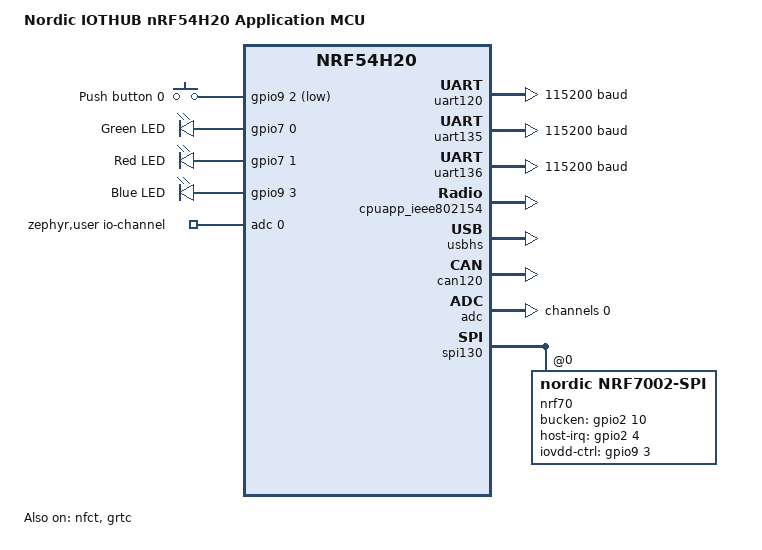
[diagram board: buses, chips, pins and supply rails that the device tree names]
/*
 * Copyright (c) 2024 Nordic Semiconductor ASA
 *
 * SPDX-License-Identifier: Apache-2.0
 */

/dts-v1/;

#include <nordic/nrf54h20_cpuapp.dtsi>
#include "iothub_nrf54h20-common.dtsi"
#include "nrf7002/nrf54h20_cpuapp.overlay"

/delete-node/ &cpurad_cpusys_ipc;
/delete-node/ &cpusec_cpurad_ipc;

/ {
	compatible = "nordic,iothub_nrf54h20-cpuapp";
	model = "Nordic IOTHUB nRF54H20 Application MCU";

	chosen {
		zephyr,console = &uart136;
		zephyr,code-partition = &slot0_partition;
		zephyr,flash = &mram1x;
		zephyr,sram = &cpuapp_data;
		zephyr,shell-uart = &uart136;
		zephyr,uart-mcumgr = &uart136;
		zephyr,ieee802154 = &cpuapp_ieee802154;
		zephyr,bt-hci = &bt_hci_ipc0;
		nordic,802154-spinel-ipc = &ipc0;
		zephyr,canbus = &can120;
		zephyr,entropy = &prng;
		zephyr,pm-ext-flash = &mx25uw63;
	};

	aliases {
		green-led = &led0;
		red-led = &led1;
		blue-led = &led2;
		resetinfo = &cpuapp_resetinfo;
		sw0 = &button0;
		ipc-to-cpusys = &cpuapp_cpusys_ipc;
		watchdog0 = &wdt010;
	};

	buttons {
		compatible = "gpio-keys";

		button0: button_0 {
			gpios = <&gpio9 2 (GPIO_PULL_UP | GPIO_ACTIVE_LOW)>;
			label = "Push button 0";
			zephyr,code = <INPUT_KEY_0>;
		};
	};

	leds {
		compatible = "gpio-leds";

		led0: led_0 {
			gpios = <&gpio7 0 GPIO_ACTIVE_HIGH>;
			label = "Green LED";
		};

		led1: led_1 {
			gpios = <&gpio7 1 GPIO_ACTIVE_HIGH>;
			label = "Red LED";
		};

		led2: led_2 {
			gpios = <&gpio9 3 GPIO_ACTIVE_HIGH>;
			label = "Blue LED";
		};
	};

	prng: prng {
		compatible = "nordic,entropy-prng";
		status = "okay";
	};

	zephyr,user {
		io-channels = <&adc 0>;
	};
};

&cpuapp_bellboard {
	status = "okay";
	interrupts = <96 NRF_DEFAULT_IRQ_PRIORITY>;
	interrupt-names = "irq0";
	/* irq0:
	 *  - 0:  cpuapp-cpusec
	 *  - 6:  cpuapp-cpusys
	 *  - 13: cpuapp-cpuppr
	 *  - 14: cpuapp-cpuflpr
	 *  - 18: cpuapp-cpurad
	 */
	nordic,interrupt-mapping = <0x00046041 0>;
};

&cpurad_bellboard {
	status = "okay";
};

&cpusys_vevif {
	status = "okay";
};

&cpusec_cpuapp_ipc {
	status = "okay";
	mbox-names = "tx", "rx";
};

&cpusec_bellboard {
	status = "okay";
};

ipc0: &cpuapp_cpurad_ipc {
	status = "okay";
	mbox-names = "rx", "tx";
	tx-region = <&cpuapp_cpurad_ipc_shm>;
	rx-region = <&cpurad_cpuapp_ipc_shm>;
	tx-blocks = <32>;
	rx-blocks = <32>;

	bt_hci_ipc0: bt_hci_ipc0 {
		compatible = "zephyr,bt-hci-ipc";
		status = "okay";
	};
};

&cpuapp_cpusys_ipc {
	status = "okay";
	mbox-names = "rx", "tx";
	tx-region = <&cpuapp_cpusys_ipc_shm>;
	rx-region = <&cpusys_cpuapp_ipc_shm>;
};

&cpuapp_cpuppr_ipc {
	mbox-names = "rx", "tx";
	tx-region = <&cpuapp_cpuppr_ipc_shm>;
	rx-region = <&cpuppr_cpuapp_ipc_shm>;
};

&cpuapp_cpuflpr_ipc {
	mbox-names = "rx", "tx";
	tx-region = <&cpuapp_cpuflpr_ipc_shm>;
	rx-region = <&cpuflpr_cpuapp_ipc_shm>;
};

&cpuapp_dma_region {
	status = "okay";
};

ironside_se_boot_report: &cpuapp_ironside_se_boot_report {};

boot_partition: &cpuapp_boot_partition {
	label = "mcuboot";
};

slot0_partition: &cpuapp_slot0_partition {
	label = "image-0";
};

slot1_partition: &cpuapp_slot1_partition {
	label = "image-1";
};

slot2_partition: &cpurad_slot0_partition {
	label = "image-2";
};

slot3_partition: &cpurad_slot1_partition {
	label = "image-3";
};

&cpuppr_vpr {
	execution-memory = <&cpuppr_code_data>;
	source-memory = <&cpuppr_code_partition>;
};

&cpuflpr_vpr {
	execution-memory = <&cpuflpr_code_data>;
	source-memory = <&cpuflpr_code_partition>;
};

&nfct {
	status = "okay";
	memory-regions = <&cpuapp_dma_region>;
};

&gpiote130 {
	status = "okay";
	owned-channels = <0 1 2 3 4 5 6 7>;
};
//GPS, Debug UART
&gpio0 {
	status = "okay";
};
//volatage monitoring, photo sensor, BG95, RS485
&gpio1 {
	status = "okay";
};
//BT Coex, wifi-SPI, CAN, ACCEL_INT
&gpio2 {
	status = "okay";
};
//
//green-led, red-led, BG95 
&gpio7 {
	status = "okay";
};
//I2C, blue-led, and Button
&gpio9 {
	status = "okay";
};

&grtc {
	status = "okay";
	child-owned-channels = <5 6>;
	nonsecure-channels = <5 6>;
	owned-channels = <4 5 6>;
};

&uart120 {
	current-speed = <115200>;
	pinctrl-0 = <&uart120_default>;
	pinctrl-1 = <&uart120_sleep>;
	pinctrl-names = "default", "sleep";
};

&uart135 {
	current-speed = <115200>;
	pinctrl-0 = <&uart135_default>;
	pinctrl-1 = <&uart135_sleep>;
	pinctrl-names = "default", "sleep";
};

&uart136 {
	status = "okay";
	memory-regions = <&cpuapp_dma_region>;
	current-speed = <115200>;
	pinctrl-0 = <&uart136_default>;
	pinctrl-1 = <&uart136_sleep>;
	pinctrl-names = "default", "sleep";
};

&gpio6 {
	status = "disabled";
};

&exmif {
	pinctrl-0 = <&exmif_default>;
	pinctrl-1 = <&exmif_sleep>;
	pinctrl-names = "default", "sleep";
	status = "disabled";

	mx25uw63: mx25uw6345g@0 {
		compatible = "mxicy,mx25u", "jedec,mspi-nor";
		status = "disabled";
		reg = <0>;
		jedec-id = [c2 84 37];
		sfdp-bfp = [
			e5 20 8a ff  ff ff ff 03  00 ff 00 ff  00 ff 00 ff
			ee ff ff ff  ff ff 00 ff  ff ff 00 ff  0c 20 10 d8
			00 ff 00 ff  87 79 01 00  84 12 00 c4  cc 04 67 46
			30 b0 30 b0  f4 bd d5 5c  00 00 00 ff  10 10 00 20
			00 00 00 00  00 00 7c 23  48 00 00 00  00 00 88 88
		];
		sfdp-ff05 = [
			00 ee c0 69  72 72 71 71  00 d8 f7 f6  00 0a 00 00
			14 45 98 80
		];
		sfdp-ff84 = [
			43 06 0f 00  21 dc ff ff
		];
		size = <67108864>;
		has-dpd;
		t-enter-dpd = <10000>;
		t-exit-dpd = <30000>;
		reset-gpios = <&gpio6 12 GPIO_ACTIVE_LOW>;
		t-reset-pulse = <10000>;
		t-reset-recovery = <35000>;

		mspi-max-frequency = <DT_FREQ_M(50)>;
		mspi-io-mode = "MSPI_IO_MODE_OCTAL";
		mspi-data-rate = "MSPI_DATA_RATE_SINGLE";
		mspi-hardware-ce-num = <1>;
		mspi-cpp-mode = "MSPI_CPP_MODE_0";
		mspi-endian = "MSPI_BIG_ENDIAN";
		mspi-ce-polarity = "MSPI_CE_ACTIVE_LOW";
	};
};

&cpuapp_ieee802154 {
	status = "okay";
};

zephyr_udc0: &usbhs {
	status = "okay";
};

&canpll {
	status = "okay";
};

&can120 {
	status = "okay";
	pinctrl-0 = <&can120_default>;
	pinctrl-names = "default";
};

&adc {
	memory-regions = <&cpuapp_dma_region>;
	status = "okay";
    #address-cells = <1>;
    #size-cells = <0>;
    channel@0 {
        reg = <0>;
        zephyr,gain = "ADC_GAIN_1_2";
        zephyr,reference = "ADC_REF_INTERNAL";
        zephyr,acquisition-time = <ADC_ACQ_TIME_DEFAULT>;
        zephyr,input-positive = <NRF_SAADC_AIN0>;
        zephyr,resolution = <14>;
    };  
};

&spi130 {
    status = "okay";
    cs-gpios = <&gpio2 7 GPIO_ACTIVE_LOW>;
    pinctrl-0 = <&spi130_default>;
    pinctrl-1 = <&spi130_sleep>;
    pinctrl-names = "default", "sleep";
    memory-regions = <&cpuapp_dma_region>;

    nrf70: nrf7002-spi@0 {
        status = "okay";
        compatible = "nordic,nrf7002-spi";
        bucken-gpios = <&gpio2 10 GPIO_ACTIVE_HIGH>;
        host-irq-gpios = <&gpio2 4 GPIO_ACTIVE_HIGH>;
        iovdd-ctrl-gpios = <&gpio9 3 GPIO_ACTIVE_HIGH>; //I chose an empty GPIO because this is

        /* Include common nRF70 overlays */
        #include "nrf7002/nrf7002_common.dtsi"
        #include "nrf7002/nrf7002_common_5g.dtsi"
    };

};

/* Trim this RAM block for making room on all run-time common S2RAM cpu context. */
&cpuapp_ram0 {
	reg = <0x22000000 (DT_SIZE_K(32)-32)>;
	ranges = <0x0 0x22000000 (0x8000-0x20)>;
};

/ {
	soc {
		/* run-time common S2RAM cpu context RAM */
		pm_s2ram: cpuapp_s2ram@22007fe0  {
			compatible = "zephyr,memory-region", "mmio-sram";
			reg = <0x22007fe0 32>;
			zephyr,memory-region = "pm_s2ram_context";
		};
	};
};
